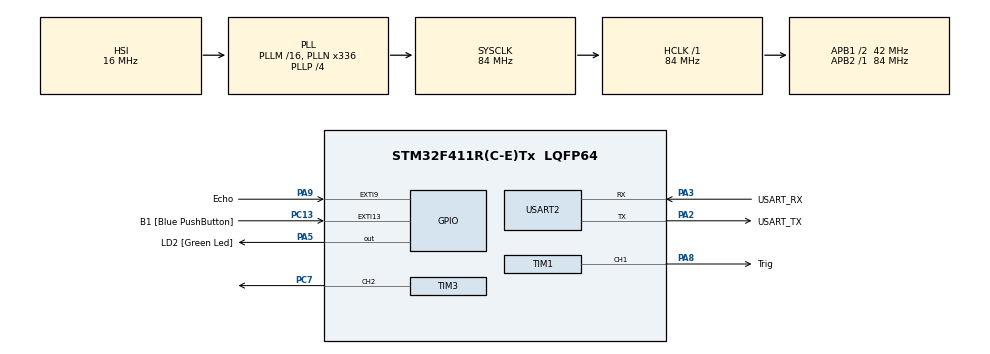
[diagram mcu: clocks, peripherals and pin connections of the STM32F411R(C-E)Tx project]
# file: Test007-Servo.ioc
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Mcu.Family=STM32F4
Mcu.Name=STM32F411R(C-E)Tx
Mcu.Package=LQFP64
NVIC.EXTI9_5_IRQn=true\:0\:0\:false\:false\:true\:true\:true\:true
NVIC.PriorityGroup=NVIC_PRIORITYGROUP_0
NVIC.TIM2_IRQn=true\:0\:0\:false\:false\:true\:true\:true\:true
PA13.GPIO_Label=TMS
PA13.Mode=Serial_Wire
PA13.Signal=SYS_JTMS-SWDIO
PA14.GPIO_Label=TCK
PA14.Mode=Serial_Wire
PA14.Signal=SYS_JTCK-SWCLK
PA2.GPIO_Label=USART_TX
PA2.Mode=Asynchronous
PA2.Signal=USART2_TX
PA3.GPIO_Label=USART_RX
PA3.Mode=Asynchronous
PA3.Signal=USART2_RX
PA5.GPIO_Label=LD2 [Green Led]
PA5.Signal=GPIO_Output
PA8.GPIO_Label=Trig
PA8.Signal=S_TIM1_CH1
PA9.GPIO_Label=Echo
PA9.GPIO_ModeDefaultEXTI=GPIO_MODE_IT_RISING_FALLING
PA9.Signal=GPXTI9
PB3.GPIO_Label=SWO
PB3.Signal=SYS_JTDO-SWO
PC13-ANTI_TAMP.GPIO_Label=B1 [Blue PushButton]
PC13-ANTI_TAMP.GPIO_ModeDefaultEXTI=GPIO_MODE_IT_FALLING
PC13-ANTI_TAMP.Signal=GPXTI13
PC14-OSC32_IN.Mode=LSE-External-Oscillator
PC14-OSC32_IN.Signal=RCC_OSC32_IN
PC15-OSC32_OUT.Mode=LSE-External-Oscillator
PC15-OSC32_OUT.Signal=RCC_OSC32_OUT
PC7.Signal=S_TIM3_CH2
PH0\ -\ OSC_IN.Mode=HSE-External-Clock-Source
PH0\ -\ OSC_IN.Signal=RCC_OSC_IN
PH1\ -\ OSC_OUT.Mode=HSE-External-Clock-Source
PH1\ -\ OSC_OUT.Signal=RCC_OSC_OUT
ProjectManager.HeapSize=0x200
ProjectManager.StackSize=0x400
ProjectManager.TargetToolchain=STM32CubeIDE
RCC.48MHZClocksFreq_Value=84000000
RCC.AHBFreq_Value=84000000
RCC.APB1CLKDivider=RCC_HCLK_DIV2
RCC.APB1Freq_Value=42000000
RCC.APB1TimFreq_Value=84000000
RCC.APB2Freq_Value=84000000
RCC.APB2TimFreq_Value=84000000
RCC.CortexFreq_Value=84000000
RCC.FLatency-AdvancedSettings=FLASH_LATENCY_2
RCC.HCLKFreq_Value=84000000
RCC.HSE_VALUE=8000000
RCC.HSI_VALUE=16000000
RCC.PLLN=336
RCC.PLLP=RCC_PLLP_DIV4
RCC.SYSCLKFreq_VALUE=84000000
RCC.SYSCLKSource=RCC_SYSCLKSOURCE_PLLCLK
RCC.VCOOutputFreq_Value=336000000
SH.S_TIM1_CH1.0=TIM1_CH1,PWM Generation1 CH1
SH.S_TIM3_CH2.0=TIM3_CH2,PWM Generation2 CH2
TIM1.Channel-PWM\ Generation1\ CH1=TIM_CHANNEL_1
TIM1.Period=10000-1
TIM1.Prescaler=84-1
TIM2.Prescaler=84-1
TIM3.Channel-PWM\ Generation2\ CH2=TIM_CHANNEL_2
TIM3.Period=20000-1
TIM3.Prescaler=84-1
USART2.VirtualMode=VM_ASYNC
VP_TIM1_VS_ClockSourceINT.Mode=Internal
VP_TIM2_VS_ClockSourceINT.Mode=Internal
VP_TIM3_VS_ClockSourceINT.Mode=Internal
board=NUCLEO-F411RE

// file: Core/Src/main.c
/* USER CODE BEGIN Header */
/**
  ******************************************************************************
  * @file           : main.c
  * @brief          : Main program body
  ******************************************************************************
  * @attention
  *
  * Copyright (c) 2025 STMicroelectronics.
  * All rights reserved.
  *
  * This software is licensed under terms that can be found in the LICENSE file
  * in the root directory of this software component.
  * If no LICENSE file comes with this software, it is provided AS-IS.
  *
  ******************************************************************************
  */
/* USER CODE END Header */
#include "main.h"

TIM_HandleTypeDef htim1;
TIM_HandleTypeDef htim2;
TIM_HandleTypeDef htim3;

UART_HandleTypeDef huart2;

void SystemClock_Config(void);
static void MX_GPIO_Init(void);
static void MX_USART2_UART_Init(void);
static void MX_TIM3_Init(void);
static void MX_TIM1_Init(void);
static void MX_TIM2_Init(void);

/* USER CODE BEGIN 0 */
int t1 = 0, t2 = 0;
double dist = 0;
void HAL_GPIO_EXTI_Callback(uint16_t GPIO_Pin)
{
   if(GPIO_Pin == Echo_Pin)
   {
      if(HAL_GPIO_ReadPin(Echo_GPIO_Port, Echo_Pin) == 1) // rising
      {
         t1 = htim2.Instance->CNT;
      }
      else // falling
      {
         t2 = htim2.Instance->CNT;
         dist = (t2 - t1) * 0.17;
         if(dist>1000)
         	htim3.Instance->CCR2=1800;
         else
         	htim3.Instance->CCR2=700;
      }
   }
}
/* USER CODE END 0 */

int main(void)
{

  /* MCU Configuration--------------------------------------------------------*/

  /* Reset of all peripherals, Initializes the Flash interface and the Systick. */
  HAL_Init();

  /* Configure the system clock */
  SystemClock_Config();

  /* Initialize all configured peripherals */
  MX_GPIO_Init();
  MX_USART2_UART_Init();
  MX_TIM3_Init();
  MX_TIM1_Init();
  MX_TIM2_Init();
  /* USER CODE BEGIN 2 */
  ProgramStart("PWM_Servo_Ultra_Sonic");
  HAL_TIM_Base_Start(&htim2);
  HAL_TIM_PWM_Start(&htim3, TIM_CHANNEL_2);
  HAL_TIM_PWM_Start(&htim1, TIM_CHANNEL_1);

  /* USER CODE END 2 */

  /* Infinite loop */
  /* USER CODE BEGIN WHILE */
  int min = htim3.Instance->ARR * 25 / 1000;
  int max = htim3.Instance->ARR * 125/ 1000;
  int cval = min, dr =1;

  printf("ARR:%d min:%d max:%d\r\n ",htim3.Instance->ARR,min,max);
  htim1.Instance->CCR1 = 10;
  while (1)
  {
	  printf("Distance = %f\r\n", dist);
	  HAL_Delay(500);

//	  printf("Input angle : ");scanf("%d",&cval);
//	  htim3.Instance->CCR2 =cval;
//	  printf("Angle : %d\r\n", cval);
//	  HAL_Delay(20);
    /* USER CODE END WHILE */

  }
}

void SystemClock_Config(void)
{
  RCC_OscInitTypeDef RCC_OscInitStruct = {0};
  RCC_ClkInitTypeDef RCC_ClkInitStruct = {0};

  /** Configure the main internal regulator output voltage
  */
  __HAL_RCC_PWR_CLK_ENABLE();
  __HAL_PWR_VOLTAGESCALING_CONFIG(PWR_REGULATOR_VOLTAGE_SCALE1);

  /** Initializes the RCC Oscillators according to the specified parameters
  * in the RCC_OscInitTypeDef structure.
  */
  RCC_OscInitStruct.OscillatorType = RCC_OSCILLATORTYPE_HSI;
  RCC_OscInitStruct.HSIState = RCC_HSI_ON;
  RCC_OscInitStruct.HSICalibrationValue = RCC_HSICALIBRATION_DEFAULT;
  RCC_OscInitStruct.PLL.PLLState = RCC_PLL_ON;
  RCC_OscInitStruct.PLL.PLLSource = RCC_PLLSOURCE_HSI;
  RCC_OscInitStruct.PLL.PLLM = 16;
  RCC_OscInitStruct.PLL.PLLN = 336;
  RCC_OscInitStruct.PLL.PLLP = RCC_PLLP_DIV4;
  RCC_OscInitStruct.PLL.PLLQ = 4;
  if (HAL_RCC_OscConfig(&RCC_OscInitStruct) != HAL_OK)
  {
    Error_Handler();
  }

  /** Initializes the CPU, AHB and APB buses clocks
  */
  RCC_ClkInitStruct.ClockType = RCC_CLOCKTYPE_HCLK|RCC_CLOCKTYPE_SYSCLK
                              |RCC_CLOCKTYPE_PCLK1|RCC_CLOCKTYPE_PCLK2;
  RCC_ClkInitStruct.SYSCLKSource = RCC_SYSCLKSOURCE_PLLCLK;
  RCC_ClkInitStruct.AHBCLKDivider = RCC_SYSCLK_DIV1;
  RCC_ClkInitStruct.APB1CLKDivider = RCC_HCLK_DIV2;
  RCC_ClkInitStruct.APB2CLKDivider = RCC_HCLK_DIV1;

  if (HAL_RCC_ClockConfig(&RCC_ClkInitStruct, FLASH_LATENCY_2) != HAL_OK)
  {
    Error_Handler();
  }
}

static void MX_TIM1_Init(void)
{

  TIM_ClockConfigTypeDef sClockSourceConfig = {0};
  TIM_MasterConfigTypeDef sMasterConfig = {0};
  TIM_OC_InitTypeDef sConfigOC = {0};
  TIM_BreakDeadTimeConfigTypeDef sBreakDeadTimeConfig = {0};

  htim1.Instance = TIM1;
  htim1.Init.Prescaler = 84-1;
  htim1.Init.CounterMode = TIM_COUNTERMODE_UP;
  htim1.Init.Period = 10000-1;
  htim1.Init.ClockDivision = TIM_CLOCKDIVISION_DIV1;
  htim1.Init.RepetitionCounter = 0;
  htim1.Init.AutoReloadPreload = TIM_AUTORELOAD_PRELOAD_DISABLE;
  if (HAL_TIM_Base_Init(&htim1) != HAL_OK)
  {
    Error_Handler();
  }
  sClockSourceConfig.ClockSource = TIM_CLOCKSOURCE_INTERNAL;
  if (HAL_TIM_ConfigClockSource(&htim1, &sClockSourceConfig) != HAL_OK)
  {
    Error_Handler();
  }
  if (HAL_TIM_PWM_Init(&htim1) != HAL_OK)
  {
    Error_Handler();
  }
  sMasterConfig.MasterOutputTrigger = TIM_TRGO_RESET;
  sMasterConfig.MasterSlaveMode = TIM_MASTERSLAVEMODE_DISABLE;
  if (HAL_TIMEx_MasterConfigSynchronization(&htim1, &sMasterConfig) != HAL_OK)
  {
    Error_Handler();
  }
  sConfigOC.OCMode = TIM_OCMODE_PWM1;
  sConfigOC.Pulse = 0;
  sConfigOC.OCPolarity = TIM_OCPOLARITY_HIGH;
  sConfigOC.OCNPolarity = TIM_OCNPOLARITY_HIGH;
  sConfigOC.OCFastMode = TIM_OCFAST_DISABLE;
  sConfigOC.OCIdleState = TIM_OCIDLESTATE_RESET;
  sConfigOC.OCNIdleState = TIM_OCNIDLESTATE_RESET;
  if (HAL_TIM_PWM_ConfigChannel(&htim1, &sConfigOC, TIM_CHANNEL_1) != HAL_OK)
  {
    Error_Handler();
  }
  sBreakDeadTimeConfig.OffStateRunMode = TIM_OSSR_DISABLE;
  sBreakDeadTimeConfig.OffStateIDLEMode = TIM_OSSI_DISABLE;
  sBreakDeadTimeConfig.LockLevel = TIM_LOCKLEVEL_OFF;
  sBreakDeadTimeConfig.DeadTime = 0;
  sBreakDeadTimeConfig.BreakState = TIM_BREAK_DISABLE;
  sBreakDeadTimeConfig.BreakPolarity = TIM_BREAKPOLARITY_HIGH;
  sBreakDeadTimeConfig.AutomaticOutput = TIM_AUTOMATICOUTPUT_DISABLE;
  if (HAL_TIMEx_ConfigBreakDeadTime(&htim1, &sBreakDeadTimeConfig) != HAL_OK)
  {
    Error_Handler();
  }
  HAL_TIM_MspPostInit(&htim1);

}

static void MX_TIM2_Init(void)
{

  TIM_ClockConfigTypeDef sClockSourceConfig = {0};
  TIM_MasterConfigTypeDef sMasterConfig = {0};

  htim2.Instance = TIM2;
  htim2.Init.Prescaler = 84-1;
  htim2.Init.CounterMode = TIM_COUNTERMODE_UP;
  htim2.Init.Period = 4294967295;
  htim2.Init.ClockDivision = TIM_CLOCKDIVISION_DIV1;
  htim2.Init.AutoReloadPreload = TIM_AUTORELOAD_PRELOAD_DISABLE;
  if (HAL_TIM_Base_Init(&htim2) != HAL_OK)
  {
    Error_Handler();
  }
  sClockSourceConfig.ClockSource = TIM_CLOCKSOURCE_INTERNAL;
  if (HAL_TIM_ConfigClockSource(&htim2, &sClockSourceConfig) != HAL_OK)
  {
    Error_Handler();
  }
  sMasterConfig.MasterOutputTrigger = TIM_TRGO_RESET;
  sMasterConfig.MasterSlaveMode = TIM_MASTERSLAVEMODE_DISABLE;
  if (HAL_TIMEx_MasterConfigSynchronization(&htim2, &sMasterConfig) != HAL_OK)
  {
    Error_Handler();
  }

}

static void MX_TIM3_Init(void)
{

  TIM_ClockConfigTypeDef sClockSourceConfig = {0};
  TIM_MasterConfigTypeDef sMasterConfig = {0};
  TIM_OC_InitTypeDef sConfigOC = {0};

  htim3.Instance = TIM3;
  htim3.Init.Prescaler = 84-1;
  htim3.Init.CounterMode = TIM_COUNTERMODE_UP;
  htim3.Init.Period = 20000-1;
  htim3.Init.ClockDivision = TIM_CLOCKDIVISION_DIV1;
  htim3.Init.AutoReloadPreload = TIM_AUTORELOAD_PRELOAD_DISABLE;
  if (HAL_TIM_Base_Init(&htim3) != HAL_OK)
  {
    Error_Handler();
  }
  sClockSourceConfig.ClockSource = TIM_CLOCKSOURCE_INTERNAL;
  if (HAL_TIM_ConfigClockSource(&htim3, &sClockSourceConfig) != HAL_OK)
  {
    Error_Handler();
  }
  if (HAL_TIM_PWM_Init(&htim3) != HAL_OK)
  {
    Error_Handler();
  }
  sMasterConfig.MasterOutputTrigger = TIM_TRGO_RESET;
  sMasterConfig.MasterSlaveMode = TIM_MASTERSLAVEMODE_DISABLE;
  if (HAL_TIMEx_MasterConfigSynchronization(&htim3, &sMasterConfig) != HAL_OK)
  {
    Error_Handler();
  }
  sConfigOC.OCMode = TIM_OCMODE_PWM1;
  sConfigOC.Pulse = 0;
  sConfigOC.OCPolarity = TIM_OCPOLARITY_HIGH;
  sConfigOC.OCFastMode = TIM_OCFAST_DISABLE;
  if (HAL_TIM_PWM_ConfigChannel(&htim3, &sConfigOC, TIM_CHANNEL_2) != HAL_OK)
  {
    Error_Handler();
  }
  HAL_TIM_MspPostInit(&htim3);

}

static void MX_USART2_UART_Init(void)
{

  huart2.Instance = USART2;
  huart2.Init.BaudRate = 115200;
  huart2.Init.WordLength = UART_WORDLENGTH_8B;
  huart2.Init.StopBits = UART_STOPBITS_1;
  huart2.Init.Parity = UART_PARITY_NONE;
  huart2.Init.Mode = UART_MODE_TX_RX;
  huart2.Init.HwFlowCtl = UART_HWCONTROL_NONE;
  huart2.Init.OverSampling = UART_OVERSAMPLING_16;
  if (HAL_UART_Init(&huart2) != HAL_OK)
  {
    Error_Handler();
  }

}

static void MX_GPIO_Init(void)
{
  GPIO_InitTypeDef GPIO_InitStruct = {0};

  /* GPIO Ports Clock Enable */
  __HAL_RCC_GPIOC_CLK_ENABLE();
  __HAL_RCC_GPIOH_CLK_ENABLE();
  __HAL_RCC_GPIOA_CLK_ENABLE();
  __HAL_RCC_GPIOB_CLK_ENABLE();

  /*Configure GPIO pin Output Level */
  HAL_GPIO_WritePin(LD2_GPIO_Port, LD2_Pin, GPIO_PIN_RESET);

  /*Configure GPIO pin : B1_Pin */
  GPIO_InitStruct.Pin = B1_Pin;
  GPIO_InitStruct.Mode = GPIO_MODE_IT_FALLING;
  GPIO_InitStruct.Pull = GPIO_NOPULL;
  HAL_GPIO_Init(B1_GPIO_Port, &GPIO_InitStruct);

  /*Configure GPIO pin : LD2_Pin */
  GPIO_InitStruct.Pin = LD2_Pin;
  GPIO_InitStruct.Mode = GPIO_MODE_OUTPUT_PP;
  GPIO_InitStruct.Pull = GPIO_NOPULL;
  GPIO_InitStruct.Speed = GPIO_SPEED_FREQ_LOW;
  HAL_GPIO_Init(LD2_GPIO_Port, &GPIO_InitStruct);

  /*Configure GPIO pin : Echo_Pin */
  GPIO_InitStruct.Pin = Echo_Pin;
  GPIO_InitStruct.Mode = GPIO_MODE_IT_RISING_FALLING;
  GPIO_InitStruct.Pull = GPIO_NOPULL;
  HAL_GPIO_Init(Echo_GPIO_Port, &GPIO_InitStruct);

  /* EXTI interrupt init*/
  HAL_NVIC_SetPriority(EXTI9_5_IRQn, 0, 0);
  HAL_NVIC_EnableIRQ(EXTI9_5_IRQn);

}

void Error_Handler(void)
{
  __disable_irq();
  while (1)
  {
  }
}
